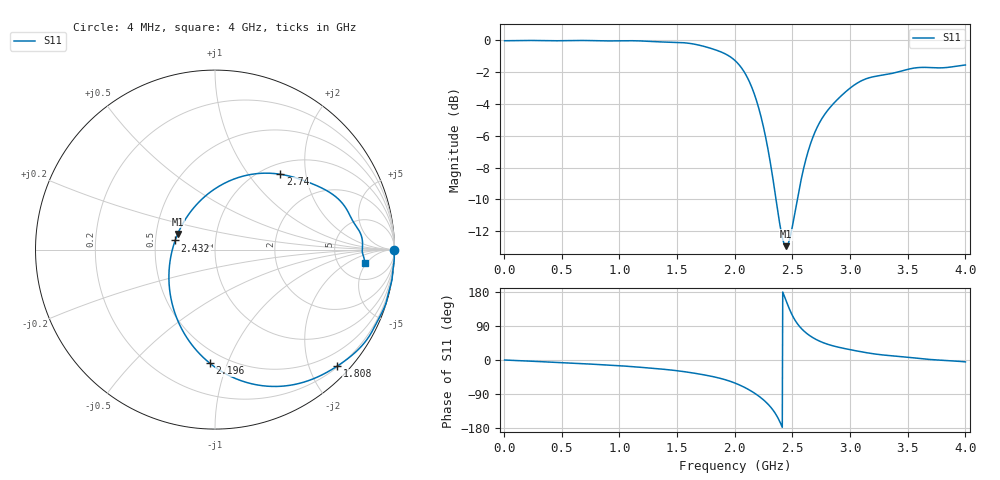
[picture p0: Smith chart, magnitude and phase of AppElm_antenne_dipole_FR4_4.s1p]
! TOUCHSTONE file generated by CST MICROWAVE STUDIO
! Date and time: Thu May 12 14:30:00 2022
! Project name: AppElm_antenne_dipole_FR4.cst
! Parameters = {L=38.8; e=0.035; f=2.45e+09; h=1.6; i=0.72; l1=4; lambda=122.449; ls=30; wl=1.7; ws=80}
! Header version: 2018
! Port assignment regex: !\s*Touchstone port\s*([0-9]+)\s*=\s*(CST MWS port|CST DS port)\s*([0-9]+|Zmin|Zmax)\s*\(\"(.*)\"\)(\s*mode\s*([0-9]+))?.*
! Touchstone port assignment:
! Touchstone port 1 = CST MWS port 1 ("")
# GHz S MA R 50
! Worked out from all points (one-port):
!   1000 points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, 4 MHz to 4 GHz, reference 50 ohm
!   lowest |S11| = -12.9 dB at 2.444 GHz (marker M1), VSWR 1.58, Z = 32.4 + j5.9 ohm
!   |S11| at or under -10 dB: 2.358 GHz to 2.542 GHz (184.3 MHz wide, 7.52 % of centre)
!   S11 on the Smith chart (normalised r, x): 4 MHz: open; 1.808 GHz: 0.22, -2.48; 2.196 GHz: 0.41, -0.87; 2.432 GHz: 0.63, +0.07; 2.74 GHz: 1.19, +1.44; 4 GHz: 9, -4
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0.004  0.9979 -0.0
0.504  0.9981 -6.9
1.004  0.9974 -15.2
1.504  0.9863 -28.5
1.656  0.9725 -35.1
1.808  0.9405 -43.7
1.912  0.9095 -51.6
2.004  0.8634 -61.1
2.108  0.766 -75.9
2.152  0.7056 -83.7
2.196  0.6337 -92.6
2.264  0.5038 -109.3
2.32  0.3891 -127.5
2.376  0.2855 -153.8
2.432  0.2277 167.0
2.444  0.2254 157.4
2.472  0.2347 135.8
2.504  0.2652 115.0
2.556  0.3364 90.7
2.612  0.4163 73.2
2.672  0.4903 59.9
2.74  0.5553 49.1
2.848  0.6284 37.7
3.004  0.7099 27.1
3.18  0.7657 17.4
3.504  0.8119 7.1
3.696  0.8217 1.3
4  0.8371 -5.0
